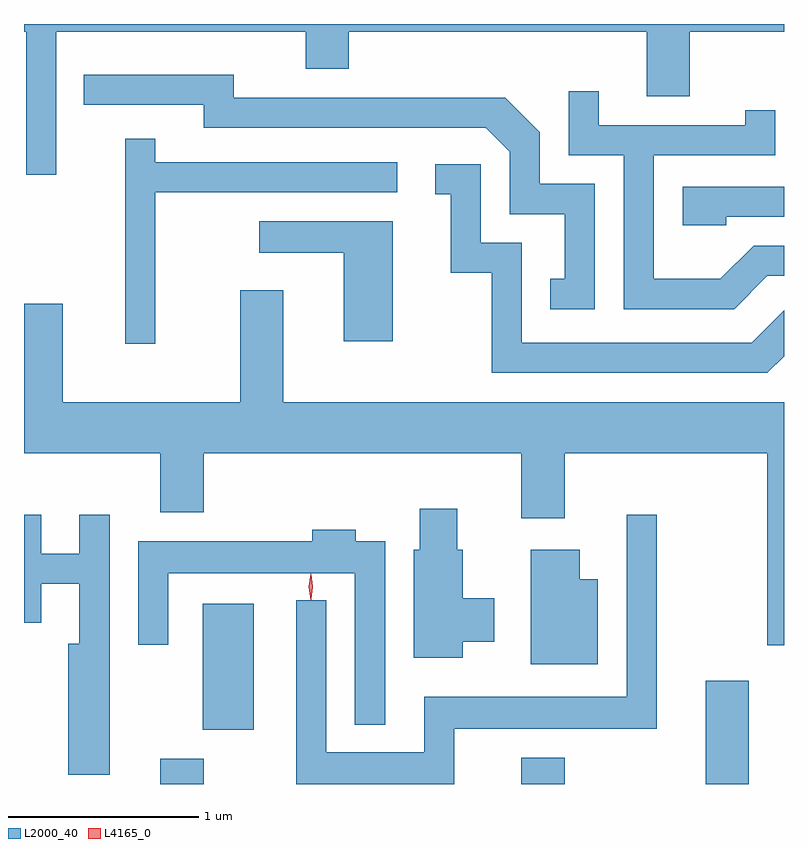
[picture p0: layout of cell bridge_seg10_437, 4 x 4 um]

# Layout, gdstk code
import gdstk
lib = gdstk.Library(unit=1e-6, precision=1e-09)
def R(c, l, rs):  # rectangles x0, y0, x1, y1
    for r in rs: c.add(gdstk.rectangle(r[:2], r[2:], *l))
def P(c, l, *ps):  # polygons
    for p in ps: c.add(gdstk.Polygon(p, *l))
L2000_40 = (2000, 40)
L4165_0 = (4165, 0)

bridge_seg10_437 = lib.new_cell('bridge_seg10_437')
R(bridge_seg10_437, L2000_40, [(1415.691,2105.516,1415.919,2105.649), (1417.591,2105.516,1417.819,2105.654), (1418.561,2105.516,1418.789,2106.059), (1415.916,2105.801,1416.184,2106.464)])
P(bridge_seg10_437, L2000_40, [(1415.144,2109.476),(1416.456,2109.476),(1416.456,2109.281),(1416.684,2109.281),(1416.684,2109.476),(1418.251,2109.476),(1418.251,2109.136),(1418.479,2109.136),(1418.479,2109.476),(1418.974,2109.476),(1418.974,2109.516),(1414.974,2109.516),(1414.974,2109.476),(1414.986,2109.476),(1414.986,2108.723),(1415.144,2108.723)],
  [(1417.979,2108.674),(1417.689,2108.674),(1417.689,2108.947),(1417.507,2109.129),(1416.079,2109.129),(1416.079,2109.249),(1415.288,2109.249),(1415.288,2109.091),(1415.921,2109.091),(1415.921,2108.971),(1417.404,2108.971),(1417.531,2108.844),(1417.531,2108.516),(1417.821,2108.516),(1417.821,2108.174),(1417.743,2108.174),(1417.743,2108.016),(1417.979,2108.016)],
  [(1418.887,2108.191),(1418.974,2108.191),(1418.974,2108.349),(1418.814,2108.349),(1418.639,2108.174),(1418.289,2108.174),(1418.289,2108.826),(1418.929,2108.826),(1418.929,2109.063),(1418.771,2109.063),(1418.771,2108.984),(1417.999,2108.984),(1417.999,2109.163),(1417.841,2109.163),(1417.841,2108.826),(1418.131,2108.826),(1418.131,2108.016),(1418.712,2108.016)],
  [(1415.664,2108.631),(1416.938,2108.631),(1416.938,2108.789),(1415.664,2108.789),(1415.664,2108.913),(1415.506,2108.913),(1415.506,2107.833),(1415.664,2107.833)],
  [(1418.974,2107.768),(1418.974,2108.01),(1418.804,2107.839),(1417.594,2107.839),(1417.594,2108.364),(1417.379,2108.364),(1417.379,2108.779),(1417.138,2108.779),(1417.138,2108.621),(1417.221,2108.621),(1417.221,2108.206),(1417.436,2108.206),(1417.436,2107.681),(1418.887,2107.681)],
  [(1418.669,2108.501),(1418.974,2108.501),(1418.974,2108.659),(1418.441,2108.659),(1418.441,2108.456),(1418.669,2108.456)],
  [(1416.914,2108.479),(1416.213,2108.479),(1416.213,2108.311),(1416.656,2108.311),(1416.656,2107.846),(1416.914,2107.846)],
  [(1418.974,2107.524),(1416.339,2107.524),(1416.339,2108.114),(1416.111,2108.114),(1416.111,2107.524),(1415.179,2107.524),(1415.179,2108.044),(1414.974,2108.044),(1414.974,2107.256),(1415.691,2107.256),(1415.691,2106.946),(1415.919,2106.946),(1415.919,2107.256),(1417.591,2107.256),(1417.591,2106.916),(1417.819,2106.916),(1417.819,2107.256),(1418.886,2107.256),(1418.886,2106.246),(1418.974,2106.246)],
  [(1417.284,2106.266),(1417.449,2106.266),(1417.449,2106.494),(1417.284,2106.494),(1417.284,2106.749),(1417.254,2106.749),(1417.254,2106.964),(1417.056,2106.964),(1417.056,2106.749),(1417.026,2106.749),(1417.026,2106.181),(1417.284,2106.181)],
  [(1415.424,2106.933),(1415.266,2106.933),(1415.266,2106.729),(1415.064,2106.729),(1415.064,2106.934),(1414.974,2106.934),(1414.974,2106.366),(1415.064,2106.366),(1415.064,2106.571),(1415.266,2106.571),(1415.266,2106.254),(1415.206,2106.254),(1415.206,2105.566),(1415.424,2105.566)],
  [(1417.239,2105.806),(1418.304,2105.806),(1418.304,2106.933),(1418.146,2106.933),(1418.146,2105.974),(1417.081,2105.974),(1417.081,2105.684),(1416.564,2105.684),(1416.564,2106.483),(1416.406,2106.483),(1416.406,2105.516),(1417.239,2105.516)],
  [(1416.874,2106.794),(1416.719,2106.794),(1416.719,2106.854),(1416.491,2106.854),(1416.491,2106.794),(1415.576,2106.794),(1415.576,2106.248),(1415.734,2106.248),(1415.734,2106.626),(1416.716,2106.626),(1416.716,2105.828),(1416.874,2105.828)],
  [(1417.994,2106.594),(1417.899,2106.594),(1417.899,2106.749),(1417.641,2106.749),(1417.641,2106.146),(1417.994,2106.146)])
P(bridge_seg10_437, L4165_0, [(1416.485,2106.487),(1416.484,2106.488),(1416.475,2106.554),(1416.484,2106.62),(1416.484,2106.62),(1416.485,2106.62),(1416.494,2106.554),(1416.485,2106.488)],
  [(1416.482,2106.483),(1416.482,2106.484),(1416.472,2106.553),(1416.482,2106.622),(1416.482,2106.623),(1416.483,2106.622),(1416.492,2106.553),(1416.483,2106.484)])

lib.write_gds('bridge_seg10_437.gds')
